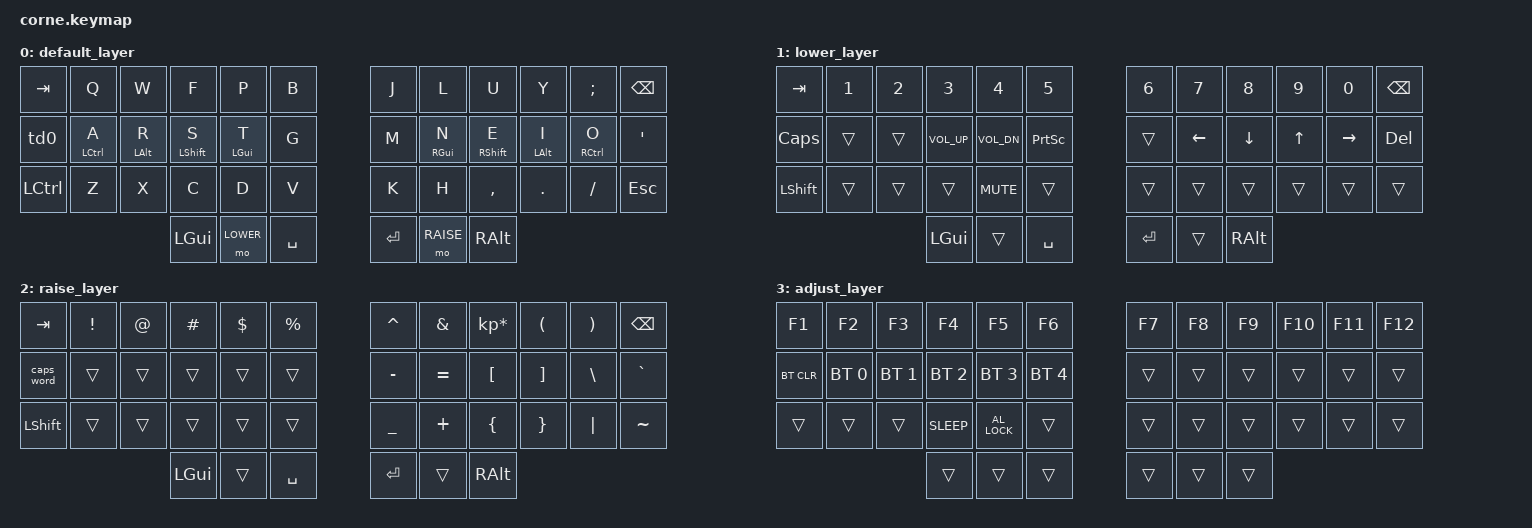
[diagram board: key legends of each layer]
/*
 * Copyright (c) 2020 The ZMK Contributors
 *
 * SPDX-License-Identifier: MIT
 */

#include <behaviors.dtsi>
#include <dt-bindings/zmk/keys.h>
#include <dt-bindings/zmk/bt.h>
#include <dt-bindings/zmk/outputs.h>

#define DEFAULT 0
#define LOWER   1
#define RAISE   2
#define ADJUST  3

/ {

        behaviors {
                hm: homerow_mods {
                        compatible = "zmk,behavior-hold-tap";
                        label = "HOMEROW_MODS";
                        #binding-cells = <2>;
                        tapping-term-ms = <200>;
                        quick-tap-ms = <50>;
                        flavor = "tap-preferred";
                        bindings = <&kp>, <&kp>;
                        };

                td0: shift_caps {
                        compatible = "zmk,behavior-tap-dance";
                        label = "shift_caps";
                        #binding-cells = <0>;
			tapping-term-ms = <200>;
                        bindings = <&sk LSHFT>, <&caps_word>, <&kp CAPS>;

                        };

                td1: tilde_toggle {
                        compatible = "zmk,behavior-tap-dance";
                        label = "lower_toggle";
			#binding-cells = <0>;
                        tapping-term-ms = <200>;
                        bindings = <&mo LOWER>, <&tog LOWER>, <&trans>;
                        };

                td2: tilde_toggle {
                        compatible = "zmk,behavior-tap-dance";
                        label = "lower_toggle";
			#binding-cells = <0>;
                        tapping-term-ms = <200>;
                        bindings = <&mo RAISE>, <&tog RAISE>, <&trans>;
                        };
                };

        conditional_layers {
                compatible = "zmk,conditional-layers";
                tri_layer {
                    if-layers = <LOWER RAISE>;
                    then-layer = <ADJUST>;
                };
        };

        keymap {
                compatible = "zmk,keymap";

                default_layer {
// -----------------------------------------------------------------------------------------
// |  TAB |  Q       |  W      |  F       |  P      |  B  |     |  J  |  L       |  U       |  Y      |  ;       | BKSP |
// | SHFT |  CTRL/A  |  ALT/R  |  SHFT/S  |  GUI/T  |  G  |     |  M  |  GUI/N   |  SHFT/E  |  ALT/I  |  CTRL/O  |  '   |
// | CTRL |  Z       |  X      |  C       |  D      |  V  |     |  K  |  H       |  ,       |  .      |  /       | ESC  |
//                              | GUI     | LWR     | SPC |     | ENT |  RSE     | ALT      |
                        bindings = <
   &kp TAB   &kp Q       &kp W      &kp F       &kp P      &kp B        &kp J   &kp L       &kp U           &kp Y        &kp SEMI          &kp BSPC
   &td0 &hm LCTRL A &hm LALT R &hm LSHFT S &hm LGUI T &kp G        &kp M   &hm RGUI N  &hm RSHFT E     &hm LALT I   &hm RCTRL O       &kp SQT
   &kp LCTRL &kp Z       &kp X      &kp C       &kp D      &kp V        &kp K   &kp H       &kp COMMA       &kp DOT      &kp FSLH          &kp ESC
                                    &kp LGUI    &mo LOWER  &kp SPACE    &kp RET &mo RAISE   &kp RALT
                        >;
  
                };
                
                lower_layer {
// -----------------------------------------------------------------------------------------
// |  TAB |  1  |  2  |  3  |  4  |  5  |   |  6  |  7  |  8  |  9  |  0  | BKSP |
// | CAPS |     |     |VOL U|VOL D|PRNT SC|   |     | LFT | DWN |  UP | RGT | DEL  |
// | SHFT |     |     |     |MUTE |     |   |     |     |     |     |     |      |
//                    |     | GUI | SPC |   | ENT | ALT |     |
                        bindings = <
   &kp TAB    &kp N1       &kp N2       &kp N3       &kp N4       &kp N5         &kp N6   &kp N7   &kp N8   &kp N9    &kp N0 &kp BSPC
   &kp CAPS      &trans       &trans       &kp C_VOL_UP       &kp C_VOL_DN       &kp PSCRN        &trans    &kp LEFT &kp DOWN &kp UP    &kp RIGHT  &kp DEL
   &kp LSHFT  &trans       &trans       &trans       &kp C_MUTE       &trans         &trans   &trans   &trans &trans      &trans &trans
                          	        &kp LGUI     &trans       &kp SPACE      &kp RET  &trans &kp RALT
                        >;
                };

                raise_layer {
// -----------------------------------------------------------------------------------------
// |  TAB |  !  |  @  |  #  |  $  |  %  |   |  ^  |  &  |  *  |  (  |  )  | BKSP |
// |CAP/WRD|     |     |     |     |     |   |  -  |  =  |  [  |  ]  |  \  |  `   |
// | SHFT |     |     |     |     |     |   |  _  |  +  |  {  |  }  | "|" |  ~   |
//                    | GUI |     | SPC |   | ENT |     | ALT |
                        bindings = <
   &kp  TAB  &kp EXCL &kp AT &kp HASH &kp DLLR &kp PRCNT   &kp CARET &kp AMPS  &kp KP_MULTIPLY &kp LPAR &kp RPAR &kp BSPC
   &caps_word &trans   &trans &trans   &trans   &trans      &kp MINUS &kp EQUAL &kp LBKT        &kp RBKT &kp BSLH &kp GRAVE
   &kp LSHFT &trans   &trans &trans   &trans   &trans      &kp UNDER &kp PLUS  &kp LBRC        &kp RBRC &kp PIPE &kp TILDE
                    	    &kp LGUI  &trans   &kp SPACE   &kp RET &trans &kp RALT
                        >;
                };

                adjust_layer {
// -----------------------------------------------------------------------------------------
// | F1  | F2  | F3  | F4  | F5  | F6  |   | F7  | F8  | F9  | F10 | F11 | F12 |
// |BTCLR| BT1 | BT2 | BT3 | BT4 | BT5 |   |     |     |     |     |     |     |
// |     |     |     |SLEEP|Lock |     |   |     |      |     |     |     |     |
//                    |     |     |     |   |     |     |     |
                        bindings = <
   &kp F1 &kp F2 &kp F3 &kp F4 &kp F5 &kp F6      &kp F7 &kp F8  &kp F9 &kp F10 &kp F11 &kp F12
   &bt BT_CLR &bt BT_SEL 0 &bt BT_SEL 1 &bt BT_SEL 2 &bt BT_SEL 3 &bt BT_SEL 4      &trans &trans &trans &trans &trans &trans
   &trans &trans &trans &kp C_SLEEP &kp C_AL_LOCK &trans      &trans &trans &trans &trans &trans &trans
                    	     &trans   &trans &trans   &trans   &trans  &trans
                        >;
                };

        };
};
